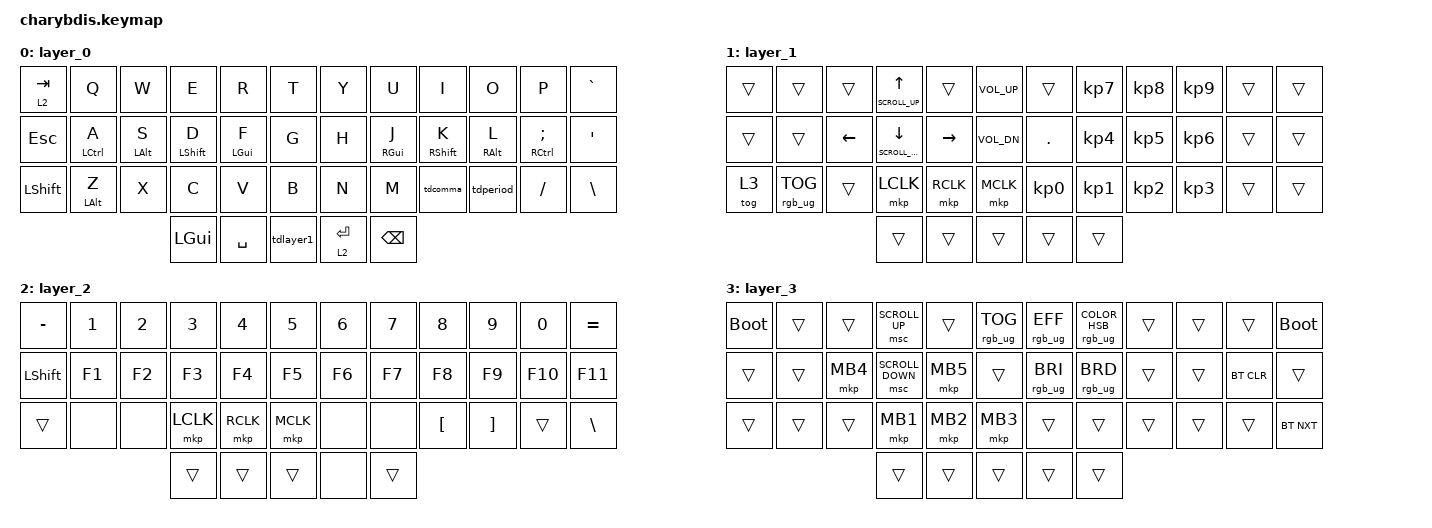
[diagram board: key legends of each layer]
#include <behaviors.dtsi>
#include <dt-bindings/zmk/bt.h>
#include <dt-bindings/zmk/keys.h>
#include <dt-bindings/zmk/mouse.h>
#include <dt-bindings/zmk/rgb.h>

&lt {
    tapping-term-ms = <250>;
    flavor = "tap-preferred";
    quick-tap-ms = <200>;
};

&mt {
    tapping-term-ms = <220>;
    flavor = "tap-preferred";
};

/ {
    behaviors {
        tdcomma: tdcomma {
            compatible = "zmk,behavior-tap-dance";
            label = "TDCOMMA";
            #binding-cells = <0>;
            tapping-term-ms = <200>;
            bindings = <&kp COMMA>, <&kp LEFT_BRACKET>;
        };

        tdperiod: tdperiod {
            compatible = "zmk,behavior-tap-dance";
            label = "TDPERIOD";
            #binding-cells = <0>;
            tapping-term-ms = <200>;
            bindings = <&kp PERIOD>, <&kp RIGHT_BRACKET>;
        };

        tdlayer1: tdlayer1 {
            compatible = "zmk,behavior-tap-dance";
            label = "TDLAYER1";
            #binding-cells = <0>;
            bindings = <&mo 1>, <&kp LG(SPACE)>;
        };
    };

    keymap {
        compatible = "zmk,keymap";

        layer_0 {
            bindings = <
&lt 2 TAB       &kp Q           &kp W           &kp E             &kp R           &kp T        &kp Y        &kp U            &kp I              &kp O            &kp P           &kp GRAVE
&kp ESCAPE      &mt LCTRL A     &mt LEFT_ALT S  &mt LEFT_SHIFT D  &mt LEFT_GUI F  &kp G        &kp H        &mt RIGHT_GUI J  &mt RIGHT_SHIFT K  &mt RIGHT_ALT L  &mt RCTRL SEMI  &kp SQT
&kp LEFT_SHIFT  &mt LEFT_ALT Z  &kp X           &kp C             &kp V           &kp B        &kp N        &kp M            &tdcomma           &tdperiod        &kp SLASH       &kp BACKSLASH
                                                &kp LGUI          &kp SPACE       &tdlayer1    &lt 2 ENTER  &kp BACKSPACE
            >;

            trackball-bindings = <&tmv_coarse>;
        };

        layer_1 {
            bindings = <
&trans  &trans           &trans    &mt K_SCROLL_UP UP      &trans     &kp C_VOLUME_UP    &trans           &kp KP_NUMBER_7  &kp KP_NUMBER_8  &kp KP_NUMBER_9  &trans  &trans
&trans  &trans           &kp LEFT  &mt K_SCROLL_DOWN DOWN  &kp RIGHT  &kp C_VOL_DN       &kp PERIOD       &kp KP_NUMBER_4  &kp KP_NUMBER_5  &kp KP_NUMBER_6  &trans  &trans
&tog 3  &rgb_ug RGB_TOG  &trans    &mkp LCLK               &mkp RCLK  &mkp MCLK          &kp KP_NUMBER_0  &kp KP_NUMBER_1  &kp KP_NUMBER_2  &kp KP_NUMBER_3  &trans  &trans
                                   &trans                  &trans     &trans             &trans           &trans
            >;
        };

        layer_2 {
            bindings = <
&kp MINUS       &kp NUMBER_1  &kp NUMBER_2  &kp NUMBER_3  &kp NUMBER_4  &kp N5       &kp NUMBER_6  &kp N7  &kp N8            &kp N9             &kp N0   &kp EQUAL
&kp LEFT_SHIFT  &kp F1        &kp F2        &kp F3        &kp F4        &kp F5       &kp F6        &kp F7  &kp F8            &kp F9             &kp F10  &kp F11
&trans          &none         &none         &mkp LCLK     &mkp RCLK     &mkp MCLK    &none         &none   &kp LEFT_BRACKET  &kp RIGHT_BRACKET  &trans   &kp BACKSLASH
                                            &trans        &trans        &trans       &none         &trans
            >;

            trackball-bindings = <&tsl>;
        };

        layer_3 {
            bindings = <
&bootloader  &trans  &trans    &msc SCROLL_UP    &trans    &rgb_ug RGB_TOG    &rgb_ug RGB_EFF  &rgb_ug RGB_COLOR_HSB(181,100,50)  &trans  &trans  &trans      &bootloader
&trans       &trans  &mkp MB4  &msc SCROLL_DOWN  &mkp MB5  &trans             &rgb_ug RGB_BRI  &rgb_ug RGB_BRD                    &trans  &trans  &bt BT_CLR  &trans
&trans       &trans  &trans    &mkp MB1          &mkp MB2  &mkp MB3           &trans           &trans                             &trans  &trans  &trans      &bt BT_NXT
                               &trans            &trans    &trans             &trans           &trans
            >;
        };

        /* layer_2 {
            bindings = <
&none  &none   &none    &none   &none         &none         &kp N1         &none         &none     &none  &none   &to 0
&none  &none   &none    &none   &none         &none         &none         &none          &rgb_ug RGB_BRD &rgb_ug RGB_BRI  &rgb_ug RGB_EFF   &rgb_ug RGB_TOG
&none  &none   &none    &none   &none         &none         &none         &mkp LCLK     &mkp RCLK  &none  &none   &none
&none  &none   &none    &none   &bt BT_NXT  &bt BT_CLR    &none         &none         &none     &none  &none   &none
                                   &none         &none         &none         &none         &none
                                                 &none         &none         &none
            >;
          trackball-bindings = <&tsl>;
            
        };

       Mouse {
            bindings = <
&none        &none         &none         &none         &none      &none         &none       &none      &none         &none         &none         &none
&none        &bt BT_SEL 0  &bt BT_SEL 1  &bt BT_SEL 3  &none      &bt BT_CLR    &bt BT_CLR  &none      &bt BT_SEL 2  &bt BT_SEL 1  &bt BT_SEL 0  &none
&none        &trans        &trans        &mkp MCLK     &trans     &none         &none       &trans     &mkp MCLK     &trans        &trans        &none
&bootloader  &trans        &mkp RCLK     &mo 4         &mkp LCLK  &mo 5         &mo 5       &mkp LCLK  &mo 4         &mkp RCLK     &trans        &bootloader
                                         &mo 5         &mkp LCLK  &mkp RCLK     &mkp RCLK   &mkp LCLK
                                                       &none      &trans        &trans
            >;

            
        };

        layer_4 {
            bindings = <
&trans  &trans  &trans     &trans     &trans     &trans       &trans     &trans     &trans     &trans     &trans  &trans
&trans  &trans  &trans     &trans     &trans     &trans       &trans     &trans     &trans     &trans     &trans  &trans
&trans  &trans  &trans     &mkp MCLK  &trans     &trans       &trans     &trans     &mkp MCLK  &trans     &trans  &trans
&trans  &trans  &mkp RCLK  &trans     &mkp LCLK  &trans       &trans     &mkp LCLK  &trans     &mkp RCLK  &trans  &trans
                           &trans     &mkp LCLK  &mkp RCLK    &mkp RCLK  &mkp LCLK
                                      &trans     &trans       &trans
            >;
                
                
                trackball-bindings = <&tsl>;
        };

        layer_5 {
            bindings = <
&trans  &trans  &trans     &trans     &trans     &trans       &trans     &trans     &trans     &trans     &trans  &trans
&trans  &trans  &trans     &trans     &trans     &trans       &trans     &trans     &trans     &trans     &trans  &trans
&trans  &trans  &trans     &mkp MCLK  &trans     &trans       &trans     &trans     &mkp MCLK  &trans     &trans  &trans
&trans  &trans  &mkp RCLK  &trans     &mkp LCLK  &trans       &trans     &mkp LCLK  &trans     &mkp RCLK  &trans  &trans
                           &trans     &mkp LCLK  &mkp RCLK    &mkp RCLK  &mkp LCLK
                                      &trans     &trans       &trans
            >;
                trackball-bindings = <&tmv_fine>;
                
        };*/
    };
};
